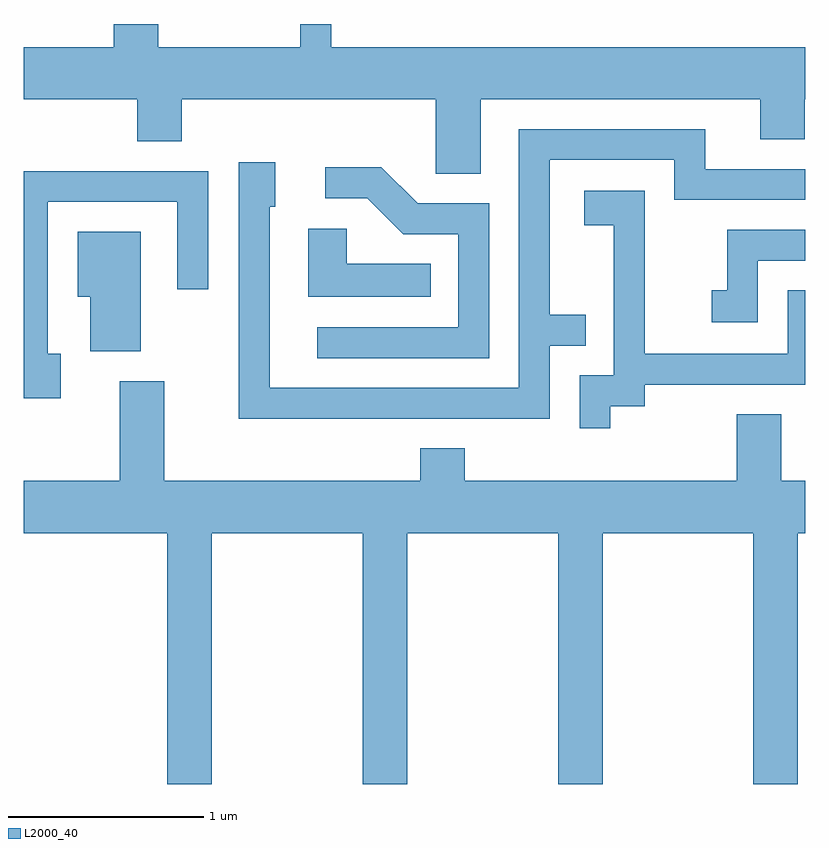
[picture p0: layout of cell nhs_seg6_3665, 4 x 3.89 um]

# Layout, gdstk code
import gdstk
lib = gdstk.Library(unit=1e-6, precision=1e-09)
def P(c, l, *ps):  # polygons
    for p in ps: c.add(gdstk.Polygon(p, *l))
L2000_40 = (2000, 40)

nhs_seg6_3665 = lib.new_cell('nhs_seg6_3665')
P(nhs_seg6_3665, L2000_40, [(297.184,1588.162),(297.026,1588.162),(297.026,1588.044),(296.299,1588.044),(296.299,1588.162),(296.071,1588.162),(296.071,1588.044),(295.611,1588.044),(295.611,1587.776),(296.191,1587.776),(296.191,1587.561),(296.419,1587.561),(296.419,1587.776),(297.721,1587.776),(297.721,1587.396),(297.949,1587.396),(297.949,1587.776),(299.381,1587.776),(299.381,1587.571),(299.609,1587.571),(299.609,1587.776),(299.611,1587.776),(299.611,1588.044),(297.184,1588.044)],
  [(298.304,1586.516),(298.488,1586.516),(298.488,1586.674),(298.304,1586.674),(298.304,1587.466),(298.941,1587.466),(298.941,1587.261),(299.611,1587.261),(299.611,1587.419),(299.099,1587.419),(299.099,1587.624),(298.146,1587.624),(298.146,1586.299),(296.869,1586.299),(296.869,1587.226),(296.899,1587.226),(296.899,1587.454),(296.711,1587.454),(296.711,1586.141),(298.304,1586.141)],
  [(297.994,1587.244),(297.627,1587.244),(297.442,1587.429),(297.153,1587.429),(297.153,1587.271),(297.369,1587.271),(297.554,1587.086),(297.836,1587.086),(297.836,1586.609),(297.113,1586.609),(297.113,1586.451),(297.994,1586.451)],
  [(295.799,1586.474),(295.734,1586.474),(295.734,1587.251),(296.396,1587.251),(296.396,1586.803),(296.554,1586.803),(296.554,1587.409),(295.611,1587.409),(295.611,1586.246),(295.799,1586.246)],
  [(298.614,1586.206),(298.789,1586.206),(298.789,1586.316),(299.611,1586.316),(299.611,1586.799),(299.521,1586.799),(299.521,1586.474),(298.789,1586.474),(298.789,1587.309),(298.481,1587.309),(298.481,1587.131),(298.631,1587.131),(298.631,1586.364),(298.456,1586.364),(298.456,1586.093),(298.614,1586.093)],
  [(297.693,1586.934),(297.264,1586.934),(297.264,1587.114),(297.066,1587.114),(297.066,1586.766),(297.693,1586.766)],
  [(299.369,1586.951),(299.611,1586.951),(299.611,1587.109),(299.211,1587.109),(299.211,1586.799),(299.133,1586.799),(299.133,1586.636),(299.369,1586.636)],
  [(296.209,1587.099),(295.886,1587.099),(295.886,1586.766),(295.951,1586.766),(295.951,1586.486),(296.209,1586.486)],
  [(298.346,1584.271),(298.574,1584.271),(298.574,1585.556),(299.346,1585.556),(299.346,1584.271),(299.574,1584.271),(299.574,1585.556),(299.611,1585.556),(299.611,1585.824),(299.489,1585.824),(299.489,1586.164),(299.261,1586.164),(299.261,1585.824),(297.869,1585.824),(297.869,1585.989),(297.641,1585.989),(297.641,1585.824),(296.329,1585.824),(296.329,1586.334),(296.101,1586.334),(296.101,1585.824),(295.611,1585.824),(295.611,1585.556),(296.346,1585.556),(296.346,1584.271),(296.574,1584.271),(296.574,1585.556),(297.346,1585.556),(297.346,1584.271),(297.574,1584.271),(297.574,1585.556),(298.346,1585.556)])

lib.write_gds('nhs_seg6_3665.gds')
